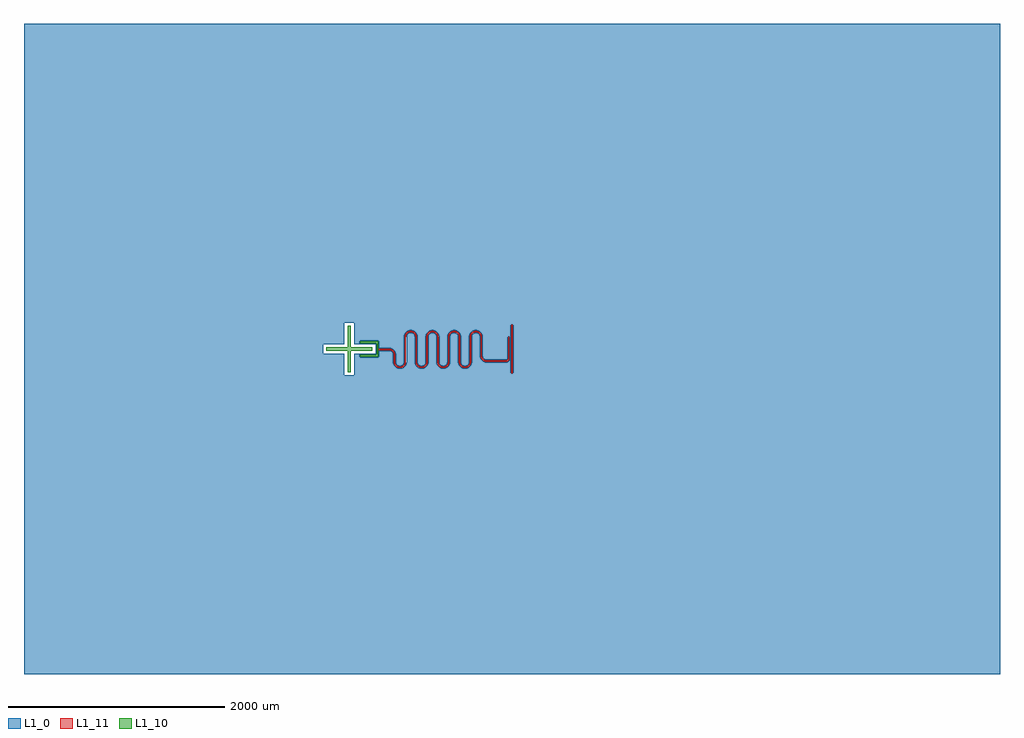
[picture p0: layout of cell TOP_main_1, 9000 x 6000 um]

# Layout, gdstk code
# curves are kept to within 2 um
import gdstk
lib = gdstk.Library(unit=1e-6, precision=1e-09)
def R(c, l, rs):  # rectangles x0, y0, x1, y1
    for r in rs: c.add(gdstk.rectangle(r[:2], r[2:], *l))
def P(c, l, *ps):  # polygons
    for p in ps: c.add(gdstk.Polygon(p, *l))
L1_0 = (1, 0)
L1_10 = (1, 10)
L1_11 = (1, 11)

ground_main_1 = lib.new_cell('ground_main_1')
P(ground_main_1, L1_0, [(-1253.557,-49.1),(-1253.557,49.1),(-1405.734,49.1),(-1405.734,74.3),(-1228.357,74.3),(-1228.357,7.2),(-1124.497,6.552),(-1103.576,-0.586),(-1086.585,-14.726),(-1078.26,-27.822),(-1073.155,-44.79),(-1072.468,-120.459),(-1070.023,-132.398),(-1055.014,-151.218),(-1033.357,-157.662),(-1033.357,3000),(-4500,3000),(-4500,-45),(-1742.343,-45),(-1742.343,45),(-1545,45),(-1545,242.343),(-1455,242.343),(-1455,45),(-1257.657,45),(-1257.657,-45),(-1455,-45),(-1455,-242.343),(-1545,-242.343),(-1545,-45),(-4500,-45),(-4500,-3000),(-1033.357,-3000),(-1033.357,-179.562),(-1048.948,-177.583),(-1063.338,-171.776),(-1075.791,-162.518),(-1086.621,-148.493),(-1094.245,-123.153),(-1095.811,-43.288),(-1105.204,-26.733),(-1122.995,-16.104),(-1228.357,-14.7),(-1228.357,-74.3),(-1405.734,-74.3),(-1405.734,-49.1)],
  [(-1031.61,-157.623),(-1018.049,-154.527),(-1006.44,-146.865),(-998.264,-135.612),(-994.76,-123.94),(-994.407,111.064),(-990.392,132.801),(-977.363,153.298),(-955.295,167.899),(-928.915,171.751),(-904.025,164.369),(-904.025,3000),(-1033.357,3000)],
  [(-904.025,136.69),(-919.671,147.53),(-938.785,149.661),(-957.842,141.516),(-969.373,126.372),(-972.507,111.064),(-973.963,-131.942),(-981.416,-150.411),(-994.433,-165.484),(-1013.71,-176.303),(-1033.357,-179.562),(-1033.357,-3000),(-904.025,-3000)],
  [(-831.61,-157.623),(-816.457,-153.804),(-805.204,-145.629),(-797.541,-134.02),(-794.407,-118.712),(-792.428,3000),(-904.025,3000),(-904.025,164.369),(-882.608,144.639),(-872.872,117.719),(-871.53,-127.379),(-866.064,-140.169),(-856.451,-150.223),(-843.919,-156.258)],
  [(-792.428,-163.732),(-817.966,-177.583),(-846.788,-178.106),(-872.481,-165.484),(-890.392,-140.449),(-894.407,-118.712),(-894.446,112.811),(-897.541,126.372),(-904.025,136.69),(-904.025,-3000),(-792.428,-3000)],
  [(-791.148,130.711),(-781.72,148.254),(-767.132,161.813),(-748.948,169.935),(-731.135,171.873),(-711.62,167.899),(-694.433,157.836),(-681.416,142.763),(-674.163,125.123),(-674.163,3000),(-792.428,3000)],
  [(-674.163,-164.031),(-688.654,-144.54),(-694.245,-123.153),(-695.033,118.019),(-699.92,131.041),(-707.73,140.396),(-719.671,147.53),(-733.357,150.014),(-745.593,148.107),(-757.842,141.516),(-766.994,131.041),(-771.881,118.019),(-772.669,-123.153),(-778.26,-144.54),(-792.428,-163.732),(-792.428,-3000),(-674.163,-3000)],
  [(-631.61,-157.623),(-619.671,-155.178),(-607.73,-148.044),(-595.384,-127.379),(-594.042,117.719),(-583.046,146.47),(-561.38,165.18),(-561.38,3000),(-674.163,3000),(-672.507,-118.712),(-669.373,-134.02),(-660.474,-146.865),(-647.243,-155.178)],
  [(-561.38,138.31),(-569.373,126.372),(-572.468,112.811),(-572.507,-118.712),(-576.522,-140.449),(-594.433,-165.484),(-620.126,-178.106),(-648.948,-177.583),(-674.163,-164.031),(-674.163,-3000),(-561.38,-3000)],
  [(-557.356,167.067),(-533.557,171.914),(-509.558,167.067),(-489.551,153.298),(-476.522,132.801),(-472.507,111.064),(-472.154,-123.94),(-467.856,-137.169),(-459.184,-148.044),(-447.243,-155.178),(-433.357,-157.662),(-433.357,3000),(-561.38,3000),(-561.38,165.18)],
  [(-433.357,-179.562),(-453.204,-176.303),(-470.747,-166.874),(-484.306,-152.287),(-492.951,-131.942),(-494.407,111.064),(-497.541,126.372),(-509.072,141.516),(-526.402,149.388),(-545.593,148.107),(-561.38,138.31),(-561.38,-3000),(-433.357,-3000)],
  [(-431.61,-157.623),(-418.049,-154.527),(-406.44,-146.865),(-398.264,-135.612),(-394.76,-123.94),(-394.407,111.064),(-390.392,132.801),(-377.363,153.298),(-355.295,167.899),(-328.915,171.751),(-305.204,165.003),(-305.204,3000),(-433.357,3000)],
  [(-305.204,137.981),(-321.321,148.107),(-340.512,149.388),(-357.842,141.516),(-369.373,126.372),(-372.507,111.064),(-373.963,-131.942),(-381.416,-150.411),(-394.433,-165.484),(-413.71,-176.303),(-433.357,-179.562),(-433.357,-3000),(-305.204,-3000)],
  [(4500,3000),(-305.204,3000),(-305.204,165.003),(-283.868,146.47),(-273.155,119.924),(-271.53,-69.767),(-260.474,-89.253),(-240.512,-99.424),(-54.8,-100.05),(-45.244,-96.299),(-40.75,-86),(-40.75,111),(-18.85,111),(-18.891,-87.711),(-21.425,-99.361),(-28.782,-110.808),(-39.866,-118.701),(-53.089,-121.909),(-240.212,-121.585),(-257.356,-117.103),(-272.481,-107.872),(-284.306,-94.675),(-292.428,-76.491),(-294.446,112.811),(-297.541,126.372),(-305.204,137.981),(-305.204,-222),(-10.95,-222),(-10.95,222),(10.95,222),(10.95,-222),(-305.204,-222),(-305.204,-3000),(4500,-3000)])

top_main_1 = lib.new_cell('TOP_main_1')
P(top_main_1, L1_10, [(-1515,212.343),(-1485,212.343),(-1485,15),(-1287.657,15),(-1287.657,-15),(-1485,-15),(-1485,-212.343),(-1515,-212.343),(-1515,-15),(-1712.343,-15),(-1712.343,15),(-1515,15),(-1515,212.343)],
  [(-1233.457,69.2),(-1233.457,-69.2),(-1400.634,-69.2),(-1400.634,-54.2),(-1248.457,-54.2),(-1248.457,54.2),(-1400.634,54.2),(-1400.634,69.2),(-1233.457,69.2)])
R(top_main_1, L1_11, [(-5.85,-222,5.85,222)])
P(top_main_1, L1_11, [(-23.95,111),(-35.65,111),(-36.303,-90.956),(-40.402,-98.626),(-48.644,-104.134),(-79.8,-105.15),(-79.8,-116.85),(-53.237,-116.81),(-42.634,-114.35),(-31.392,-106.095),(-24.935,-93.733)],
  [(-1031.222,-174.421),(-1015.213,-171.417),(-1015.213,-158.851),(-1033.357,-162.762),(-1049.981,-159.585),(-1064.037,-150.514),(-1074.431,-135.136),(-1077.567,-120.581),(-1078.627,-43.036),(-1084.38,-27.017),(-1096.265,-12.03),(-1110.551,-2.778),(-1126.963,1.732),(-1233.457,2.1),(-1233.457,-9.6),(-1129.621,-9.759),(-1116.933,-12.776),(-1104.254,-20.583),(-1094.901,-32.167),(-1089.941,-46.206),(-1089.143,-122.979),(-1083.518,-143.449),(-1073.726,-157.371),(-1062.046,-166.633),(-1046.26,-172.995)],
  [(-1014.513,-171.18),(-1001.283,-164.311),(-989.019,-152.509),(-981.649,-139.552),(-977.975,-125.105),(-977.607,111.064),(-975.676,123.963),(-970.053,135.731),(-962.66,144.131),(-953.388,150.397),(-941.001,154.48),(-929.621,154.955),(-918.682,152.597),(-908.69,147.56),(-899.085,138.737),(-899.085,155.024),(-918.584,164.821),(-939.951,166.446),(-960.19,160.041),(-969.028,154.074),(-977.895,144.861),(-987.314,125.836),(-989.307,111.064),(-989.466,-122.447),(-991.823,-133.387),(-996.861,-143.379),(-1004.254,-151.779),(-1015.213,-158.851)],
  [(-831.222,-174.421),(-818.584,-172.469),(-808.62,-168.673),(-797.886,-161.722),(-789.347,-152.921),(-789.347,-120.581),(-792.483,-135.136),(-800.29,-147.814),(-811.874,-157.168),(-825.913,-162.128),(-841.001,-162.128),(-855.04,-157.168),(-866.624,-147.814),(-874.431,-135.136),(-877.607,-118.712),(-877.771,115.331),(-880.205,127.885),(-884.38,137.697),(-890.346,146.534),(-899.085,155.024),(-899.085,138.737),(-892.483,127.488),(-889.347,112.933),(-888.287,-129.326),(-880.352,-149.016),(-867.354,-163.049),(-850.378,-171.864)],
  [(-789.019,-152.509),(-780.888,-137.556),(-777.648,-120.847),(-776.973,118.508),(-772.013,132.547),(-762.66,144.131),(-749.981,151.937),(-737.293,154.955),(-722.257,153.692),(-707.163,146.48),(-695.847,134.159),(-689.941,118.508),(-689.266,-120.847),(-687.314,-133.484),(-683.396,-143.685),(-683.396,135.801),(-690.346,146.534),(-699.56,155.401),(-710.551,161.936),(-722.743,165.794),(-733.357,166.814),(-744.171,165.794),(-754.397,162.772),(-763.861,157.858),(-772.216,151.233),(-780.352,141.368),(-785.265,131.904),(-788.287,121.678),(-789.307,111.064)],
  [(-631.222,-174.421),(-612.517,-170.42),(-596.265,-160.332),(-584.38,-145.345),(-578.26,-127.222),(-577.25,145.673),(-586.026,129.908),(-589.266,113.199),(-589.941,-126.156),(-594.901,-140.195),(-604.254,-151.779),(-616.933,-159.585),(-629.621,-162.603),(-644.657,-161.34),(-659.751,-154.128),(-671.067,-141.807),(-676.973,-126.156),(-677.648,113.199),(-679.073,123.767),(-683.396,135.801),(-683.396,-143.685),(-673.726,-157.371),(-662.046,-166.633),(-646.26,-172.995)],
  [(-576.618,120.344),(-572.013,132.547),(-562.66,144.131),(-549.981,151.937),(-537.293,154.955),(-524.077,154.125),(-510.261,148.574),(-499.085,138.737),(-492.483,127.488),(-489.307,111.064),(-489.143,-122.979),(-486.709,-135.533),(-482.534,-145.345),(-476.568,-154.182),(-467.354,-163.049),(-467.354,-146.949),(-474.431,-135.136),(-477.567,-120.581),(-477.607,111.064),(-481.649,131.904),(-490.346,146.534),(-504.868,158.985),(-522.743,165.794),(-539.951,166.446),(-560.19,160.041),(-576.568,146.534)],
  [(-431.222,-174.421),(-412.517,-170.42),(-397.886,-161.722),(-386.562,-149.016),(-379.073,-131.415),(-377.607,-118.712),(-377.448,114.799),(-374.431,127.488),(-368.973,137.257),(-359.751,146.48),(-349.981,151.937),(-349.981,164.333),(-363.861,157.858),(-375.177,148.156),(-384.429,133.869),(-388.654,119.574),(-389.307,-118.712),(-391.823,-133.387),(-396.861,-143.379),(-404.254,-151.779),(-413.526,-158.045),(-425.913,-162.128),(-437.293,-162.603),(-448.232,-160.245),(-458.224,-155.208),(-467.354,-146.949),(-467.354,-163.049),(-450.378,-171.864)],
  [(-346.456,153.183),(-329.621,154.955),(-313.526,150.397),(-299.085,138.737),(-291.238,123.963),(-289.307,111.064),(-289.143,-65.368),(-284.429,-83.906),(-273.726,-99.759),(-256.363,-111.972),(-237.825,-116.686),(-79.8,-116.85),(-79.8,-105.15),(-237.293,-104.991),(-251.701,-101.24),(-265.359,-91.58),(-273.697,-79.244),(-277.448,-64.836),(-277.607,111.064),(-280.205,127.885),(-285.436,139.553),(-293.188,149.723),(-303.053,157.858),(-312.517,162.772),(-331.222,166.773),(-348.33,164.821),(-349.981,164.333),(-349.981,151.937)])
top_main_1.add(gdstk.Reference(ground_main_1, (0,0)))

lib.write_gds('TOP_main_1.gds')
